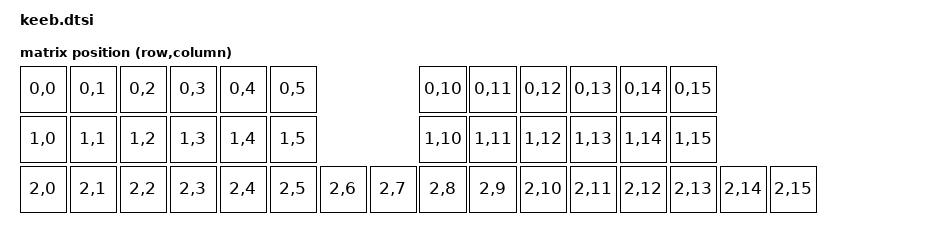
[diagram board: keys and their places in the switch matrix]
/* keebL - shared devicetree for both halves
 *
 * One matrix transform covers the WHOLE keyboard (3 rows x 16 cols).
 * Left half uses matrix cols 0-7, right half uses cols 8-15
 * (the right overlay sets col-offset = <8>, so its local col N becomes N+8).
 *
 * The order of entries in `map` IS the keymap position order:
 *   Row 0:  pos  0- 5 (L)  |  pos  6-11 (R)
 *   Row 1:  pos 12-17 (L)  |  pos 18-23 (R)
 *   Row 2:  pos 24-31 (L)  |  pos 32-39 (R)
 *
 * Right half rows 0 and 1 use only its local cols 2-7 (-> 10-15).
 */

#include <dt-bindings/zmk/matrix_transform.h>

/ {
    chosen {
        zmk,matrix-transform = &default_transform;
    };

    default_transform: keymap_transform_0 {
        compatible = "zmk,matrix-transform";
        rows = <3>;
        columns = <16>;
        map = <
            RC(0,0) RC(0,1) RC(0,2) RC(0,3) RC(0,4) RC(0,5)                   RC(0,10) RC(0,11) RC(0,12) RC(0,13) RC(0,14) RC(0,15)
            RC(1,0) RC(1,1) RC(1,2) RC(1,3) RC(1,4) RC(1,5)                   RC(1,10) RC(1,11) RC(1,12) RC(1,13) RC(1,14) RC(1,15)
            RC(2,0) RC(2,1) RC(2,2) RC(2,3) RC(2,4) RC(2,5) RC(2,6) RC(2,7)   RC(2,8)  RC(2,9)  RC(2,10) RC(2,11) RC(2,12) RC(2,13) RC(2,14) RC(2,15)
        >;
    };
};
